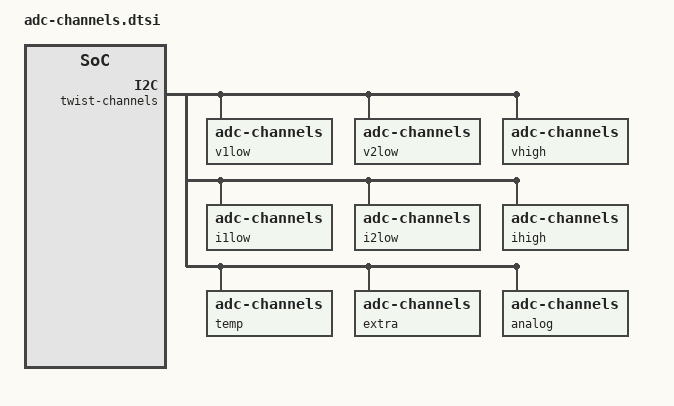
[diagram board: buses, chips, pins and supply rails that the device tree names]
/*
 * Copyright (c) 2022-2023 OwnTech.
 *
 * SPDX-License-Identifier: LGLPV2.1
 */

/ {
	twist-channels {

		/* Voltage channels */

		v1low: v1-low {
			compatible = "adc-channels";
			channel-name = "V1_LOW";
			default-gain = <0x3d3d3c36>;
			default-offset = <0xc2bc147b>;
			spin-pin = <29>;
			v1-low-adc1 {
				io-channels = <&adc1 1>;
			};
			v1-low-adc2 {
				io-channels = <&adc2 1>;
			};
		};

		v2low: v2-low {
			compatible = "adc-channels";
			channel-name = "V2_LOW";
			default-gain = <0x3d3d3c36>;
			default-offset = <0xc2bc147b>;
			spin-pin = <24>;
			v2-low-adc1 {
				io-channels = <&adc1 6>;
			};
			v2-low-adc2 {
				io-channels = <&adc2 6>;
			};
		};

		vhigh: v-high {
			compatible = "adc-channels";
			channel-name = "V_HIGH";
			default-gain = <0x3d83126f>;
			default-offset = <0x408d0e56>;
			spin-pin = <27>;
			v-high-adc1 {
				io-channels = <&adc1 9>;
			};
			v-high-adc2 {
				io-channels = <&adc2 9>;
			};
		};

		/* Current channels */

		i1low: i1-low {
			compatible = "adc-channels";
			channel-name = "I1_LOW";
			default-gain = <0x3c4ccccd>;
			default-offset = <0x41cf3333>;
			spin-pin = <30>;
			i1-low-adc1 {
				io-channels = <&adc1 2>;
			};
			i1-low-adc2 {
				io-channels = <&adc2 2>;
			};
		};

		i2low: i2-low {
			compatible = "adc-channels";
			channel-name = "I2_LOW";
			default-gain = <0x3c6a4a8c>;
			default-offset = <0x41ea3d71>;
			spin-pin = <25>;
			i2-low-adc1 {
				io-channels = <&adc1 7>;
			};
			i2-low-adc2 {
				io-channels = <&adc2 7>;
			};
		};

		ihigh: i-high {
			compatible = "adc-channels";
			channel-name = "I_HIGH";
			default-gain = <0x3c4ccccd>;
			default-offset = <0x00000000>;
			spin-pin = <26>;
			i-high-adc1 {
				io-channels = <&adc1 8>;
			};
			i-high-adc2 {
				io-channels = <&adc2 8>;
			};
		};

		/* Other channels */

		temp: temp-sensor {
			compatible = "adc-channels";
			channel-name = "TEMP_SENSOR";
			default-gain = <0x3f800000>;
			default-offset = <0x00000000>;
			spin-pin = <37>;
			temp-sensor-adc3 {
				io-channels = <&adc3 1>;
			};
		};

		extra: extra-sensor {
			compatible = "adc-channels";
			channel-name = "EXTRA_MEAS";
			default-gain = <0x3f800000>;
			default-offset = <0x00000000>;
			spin-pin = <35>;
			extra-sensor-adc2 {
				io-channels = <&adc2 5>;
			};
		};

		analog: analog-comm {
			compatible = "adc-channels";
			channel-name = "ANALOG_COMM";
			default-gain = <0x3f800000>;
			default-offset = <0x00000000>;
			spin-pin = <6>;
			analog-comm-adc4 {
				io-channels = <&adc4 5>;
			};
		};
	};
};
